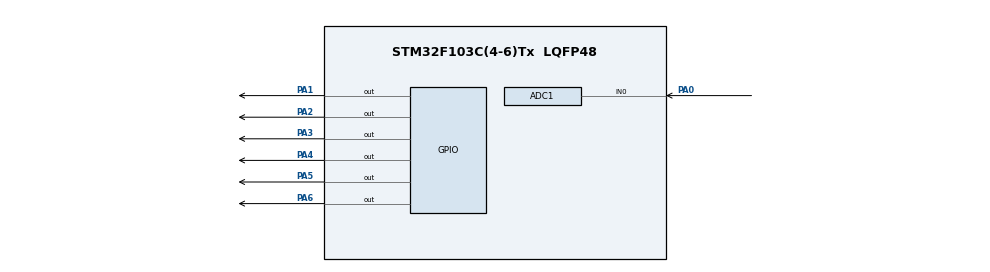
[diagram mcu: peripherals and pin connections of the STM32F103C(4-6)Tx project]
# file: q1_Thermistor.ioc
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ADC1.Channel-0\#ChannelRegularConversion=ADC_CHANNEL_0
ADC1.NbrOfConversionFlag=1
ADC1.Rank-0\#ChannelRegularConversion=1
ADC1.SamplingTime-0\#ChannelRegularConversion=ADC_SAMPLETIME_1CYCLE_5
ADC1.master=1
Mcu.Family=STM32F1
Mcu.Name=STM32F103C(4-6)Tx
Mcu.Package=LQFP48
NVIC.PriorityGroup=NVIC_PRIORITYGROUP_4
PA0-WKUP.Signal=ADCx_IN0
PA1.Signal=GPIO_Output
PA2.Signal=GPIO_Output
PA3.Signal=GPIO_Output
PA4.Signal=GPIO_Output
PA5.Signal=GPIO_Output
PA6.Signal=GPIO_Output
ProjectManager.HeapSize=0x200
ProjectManager.StackSize=0x400
ProjectManager.TargetToolchain=STM32CubeIDE
RCC.APB1Freq_Value=8000000
RCC.APB1TimFreq_Value=8000000
RCC.APB2Freq_Value=8000000
SH.ADCx_IN0.0=ADC1_IN0,IN0
VP_SYS_VS_ND.Mode=No_Debug
board=custom

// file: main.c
/* USER CODE BEGIN Header */
/**
  ******************************************************************************
  * @file           : main.c
  * @brief          : Main program body
  ******************************************************************************
  * @attention
  *
  * Copyright (c) 2026 STMicroelectronics.
  * All rights reserved.
  *
  * This software is licensed under terms that can be found in the LICENSE file
  * in the root directory of this software component.
  * If no LICENSE file comes with this software, it is provided AS-IS.
  *
  ******************************************************************************
  */
/* USER CODE END Header */
#include "main.h"

/* USER CODE BEGIN Includes */
#include "lcd.h"
#include <stdio.h>
#include <math.h>
/* USER CODE END Includes */

ADC_HandleTypeDef hadc1;

void SystemClock_Config(void);
static void MX_GPIO_Init(void);
static void MX_ADC1_Init(void);

int main(void)
{

  /* MCU Configuration--------------------------------------------------------*/

  /* Reset of all peripherals, Initializes the Flash interface and the Systick. */
  HAL_Init();

  /* Configure the system clock */
  SystemClock_Config();

  /* Initialize all configured peripherals */
  MX_GPIO_Init();
  MX_ADC1_Init();
  /* USER CODE BEGIN 2 */
  Lcd_PortType ports[] = {GPIOA, GPIOA, GPIOA, GPIOA};
     Lcd_PinType pins[] = {GPIO_PIN_3, GPIO_PIN_4, GPIO_PIN_5, GPIO_PIN_6};

     // Create and initialize LCD instance (RS=PA1, EN=PA2)
     Lcd_HandleTypeDef lcd = Lcd_create(ports, pins, GPIOA, GPIO_PIN_1, GPIOA, GPIO_PIN_2, LCD_4_BIT_MODE);

     Lcd_cursor(&lcd, 0, 0);
     Lcd_string(&lcd, "Thermistor Sensor Init");
     HAL_Delay(1000);
     Lcd_clear(&lcd);
  /* USER CODE END 2 */

  /* Infinite loop */
  while (1)
  {

    /* USER CODE BEGIN 3 */
	  HAL_ADC_Start(&hadc1);

	    if (HAL_ADC_PollForConversion(&hadc1, 10) == HAL_OK)
	    {
	        uint32_t adc_val = HAL_ADC_GetValue(&hadc1);

	        // Constants from your MATLAB Curve Fit
	        float R0 = 10769.0f;
	        float beta = 3670.0f;
	        float T0 = 298.15f;      // 25 degrees Celsius in Kelvin
	        float R_fixed = 10000.0f; // 10k ohm resistor
	        float V_ref = 5.0f;      // Proteus ADC reference voltage

	        // 1. Convert ADC value to Voltage
	        float voltage = ((float)adc_val / 4095.0f) * V_ref;

	        // 2. Calculate Thermistor Resistance (Voltage Divider Formula)
	        // Prevent division by zero if voltage spikes to exactly 5.0V
	        float resistance = 0.0f;
	        if (voltage < V_ref) {
	            resistance = (R_fixed * voltage) / (V_ref - voltage);
	        }

	        // 3. Calculate Temperature using the Beta Equation
	        // Note: log() in C computes the natural logarithm (ln)
	        float temp_k = 1.0f / ((1.0f / T0) + (1.0f / beta) * log(resistance / R0));

	        // Convert Kelvin to Celsius
	        float temperature_c = temp_k - 273.15f;

	        // 4. Format strings for the LCD
	        char line1[32];
	        char line2[32];

	        // Print Voltage and Resistance on line 1, Temperature on line 2
	        sprintf(line1, "V:%.2f R:%.0f  ", voltage, resistance);
	        sprintf(line2, "Temp: %.1f C    ", temperature_c);
	        Lcd_cursor(&lcd, 0, 0);
	              Lcd_string(&lcd, line1);
	              Lcd_cursor(&lcd, 1, 0);
	              Lcd_string(&lcd, line2);
	          }

	          HAL_ADC_Stop(&hadc1);

	          // Wait half a second before taking the next reading
	          HAL_Delay(500);
  }
  /* USER CODE END 3 */
}

void SystemClock_Config(void)
{
  RCC_OscInitTypeDef RCC_OscInitStruct = {0};
  RCC_ClkInitTypeDef RCC_ClkInitStruct = {0};
  RCC_PeriphCLKInitTypeDef PeriphClkInit = {0};

  /** Initializes the RCC Oscillators according to the specified parameters
  * in the RCC_OscInitTypeDef structure.
  */
  RCC_OscInitStruct.OscillatorType = RCC_OSCILLATORTYPE_HSI;
  RCC_OscInitStruct.HSIState = RCC_HSI_ON;
  RCC_OscInitStruct.HSICalibrationValue = RCC_HSICALIBRATION_DEFAULT;
  RCC_OscInitStruct.PLL.PLLState = RCC_PLL_NONE;
  if (HAL_RCC_OscConfig(&RCC_OscInitStruct) != HAL_OK)
  {
    Error_Handler();
  }

  /** Initializes the CPU, AHB and APB buses clocks
  */
  RCC_ClkInitStruct.ClockType = RCC_CLOCKTYPE_HCLK|RCC_CLOCKTYPE_SYSCLK
                              |RCC_CLOCKTYPE_PCLK1|RCC_CLOCKTYPE_PCLK2;
  RCC_ClkInitStruct.SYSCLKSource = RCC_SYSCLKSOURCE_HSI;
  RCC_ClkInitStruct.AHBCLKDivider = RCC_SYSCLK_DIV1;
  RCC_ClkInitStruct.APB1CLKDivider = RCC_HCLK_DIV1;
  RCC_ClkInitStruct.APB2CLKDivider = RCC_HCLK_DIV1;

  if (HAL_RCC_ClockConfig(&RCC_ClkInitStruct, FLASH_LATENCY_0) != HAL_OK)
  {
    Error_Handler();
  }
  PeriphClkInit.PeriphClockSelection = RCC_PERIPHCLK_ADC;
  PeriphClkInit.AdcClockSelection = RCC_ADCPCLK2_DIV2;
  if (HAL_RCCEx_PeriphCLKConfig(&PeriphClkInit) != HAL_OK)
  {
    Error_Handler();
  }
}

static void MX_ADC1_Init(void)
{

  ADC_ChannelConfTypeDef sConfig = {0};

  /** Common config
  */
  hadc1.Instance = ADC1;
  hadc1.Init.ScanConvMode = ADC_SCAN_DISABLE;
  hadc1.Init.ContinuousConvMode = DISABLE;
  hadc1.Init.DiscontinuousConvMode = DISABLE;
  hadc1.Init.ExternalTrigConv = ADC_SOFTWARE_START;
  hadc1.Init.DataAlign = ADC_DATAALIGN_RIGHT;
  hadc1.Init.NbrOfConversion = 1;
  if (HAL_ADC_Init(&hadc1) != HAL_OK)
  {
    Error_Handler();
  }

  /** Configure Regular Channel
  */
  sConfig.Channel = ADC_CHANNEL_0;
  sConfig.Rank = ADC_REGULAR_RANK_1;
  sConfig.SamplingTime = ADC_SAMPLETIME_1CYCLE_5;
  if (HAL_ADC_ConfigChannel(&hadc1, &sConfig) != HAL_OK)
  {
    Error_Handler();
  }

}

static void MX_GPIO_Init(void)
{
  GPIO_InitTypeDef GPIO_InitStruct = {0};

  /* GPIO Ports Clock Enable */
  __HAL_RCC_GPIOA_CLK_ENABLE();

  /*Configure GPIO pin Output Level */
  HAL_GPIO_WritePin(GPIOA, GPIO_PIN_1|GPIO_PIN_2|GPIO_PIN_3|GPIO_PIN_4
                          |GPIO_PIN_5|GPIO_PIN_6, GPIO_PIN_RESET);

  /*Configure GPIO pins : PA1 PA2 PA3 PA4
                           PA5 PA6 */
  GPIO_InitStruct.Pin = GPIO_PIN_1|GPIO_PIN_2|GPIO_PIN_3|GPIO_PIN_4
                          |GPIO_PIN_5|GPIO_PIN_6;
  GPIO_InitStruct.Mode = GPIO_MODE_OUTPUT_PP;
  GPIO_InitStruct.Pull = GPIO_NOPULL;
  GPIO_InitStruct.Speed = GPIO_SPEED_FREQ_LOW;
  HAL_GPIO_Init(GPIOA, &GPIO_InitStruct);

}

void Error_Handler(void)
{
  __disable_irq();
  while (1)
  {
  }
}
